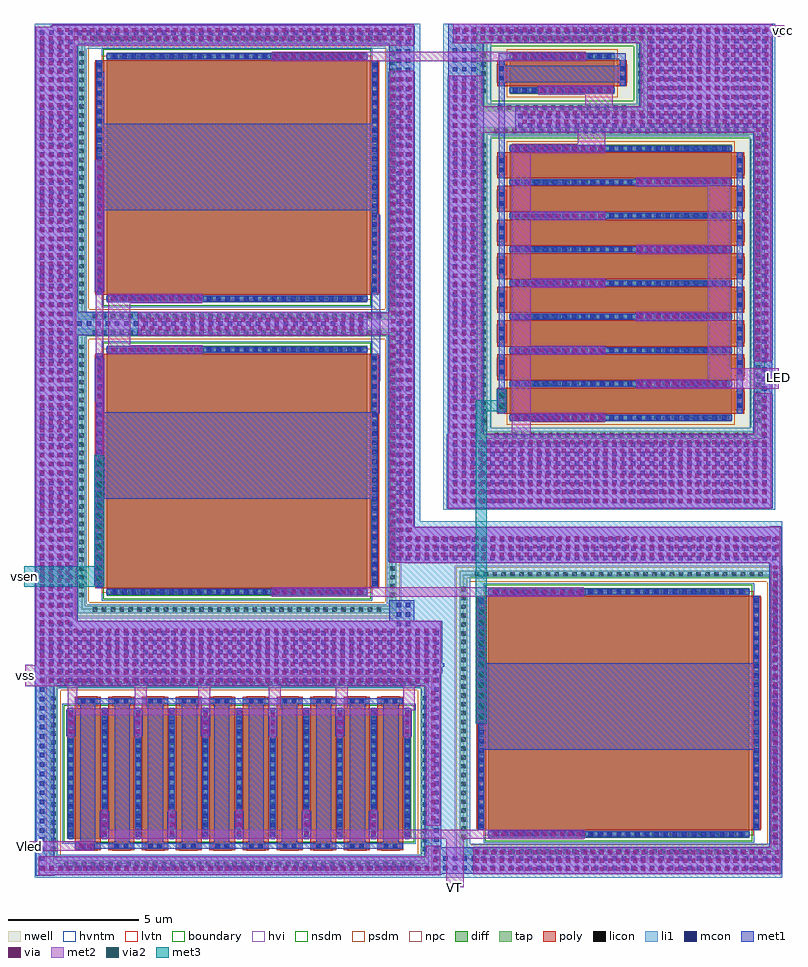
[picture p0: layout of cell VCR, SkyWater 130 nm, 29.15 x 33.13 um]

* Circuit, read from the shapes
.subckt VCR LED VT Vled vcc vsen vss
XM1 VT Vled vss vss sky130_fd_pr__nfet_05v0_nvt w=5 l=1 m=10
XM2 n1 vsen n2 vss sky130_fd_pr__nfet_05v0_nvt w=10 l=9
XM3 n3 vsen n1 vss sky130_fd_pr__nfet_05v0_nvt w=10 l=9
XM4 n2 n3 VT vss sky130_fd_pr__nfet_05v0_nvt w=10 l=9
XM5 LED n3 vcc vcc sky130_fd_pr__pfet_g5v0d10v5 w=8.5 l=1 m=8
XM6 n3 n3 vcc vcc sky130_fd_pr__pfet_g5v0d10v5 w=4 l=1
.ends

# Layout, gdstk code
from math import pi, radians
import gdstk
lib = gdstk.Library(unit=1e-6, precision=1e-09)
def R(c, l, rs):  # rectangles x0, y0, x1, y1
    for r in rs: c.add(gdstk.rectangle(r[:2], r[2:], *l))
def A(c, l, x, y, w, h, nx, ny, dx, dy):  # array of equal rectangles
    R(c, l, [(x+i*dx, y+j*dy, x+i*dx+w, y+j*dy+h) for i in range(nx) for j in range(ny)])
nwell = (64, 20)
diff = (65, 20)
tap = (65, 44)
poly = (66, 20)
licon = (66, 44)
li1 = (67, 20)
mcon = (67, 44)
met1 = (68, 20)
via = (68, 44)
met2 = (69, 20)
via2 = (69, 44)
met3 = (70, 20)
hvi = (75, 20)
nsdm = (93, 44)
psdm = (94, 20)
npc = (95, 20)
hvntm = (125, 20)
lvtn = (125, 44)
boundary = (235, 4)

sky130_fd_pr__nfet_05v0_ = lib.new_cell('sky130_fd_pr__nfet_05v0_nvt_6VRW6H')
R(sky130_fd_pr__nfet_05v0_, diff, [(-4.79,-5,4.79,5)])
R(sky130_fd_pr__nfet_05v0_, tap, [(-5.46,-6.11,5.46,-5.82), (-5.46,-5.82,-5.17,5.82), (5.17,-5.82,5.46,5.82), (-5.46,5.82,5.46,6.11)])
R(sky130_fd_pr__nfet_05v0_, poly, [(-4.5,-5.44,4.5,5.44)])
A(sky130_fd_pr__nfet_05v0_, licon, -4.845, -6.05, 0.17, 0.17, 29, 2, 0.34, 11.93)
A(sky130_fd_pr__nfet_05v0_, licon, -5.4, -5.525, 0.17, 0.17, 1, 33, 0, 0.34)
A(sky130_fd_pr__nfet_05v0_, licon, 5.23, -5.525, 0.17, 0.17, 1, 33, 0, 0.34)
A(sky130_fd_pr__nfet_05v0_, licon, -4.335, -5.36, 0.17, 0.17, 26, 2, 0.34, 10.55)
A(sky130_fd_pr__nfet_05v0_, licon, -4.73, -4.845, 0.17, 0.17, 1, 29, 0, 0.34)
A(sky130_fd_pr__nfet_05v0_, licon, 4.56, -4.845, 0.17, 0.17, 1, 29, 0, 0.34)
R(sky130_fd_pr__nfet_05v0_, li1, [(-5.4,-6.05,5.4,-5.88), (-5.4,-5.88,-5.23,5.88), (5.23,-5.88,5.4,5.88), (-4.5,-5.36,4.5,-5.19), (-4.73,-5.02,-4.56,5.02), (4.56,-5.02,4.73,5.02), (-4.5,5.19,4.5,5.36), (-5.4,5.88,5.4,6.05)])
A(sky130_fd_pr__nfet_05v0_, mcon, -4.405, -5.36, 0.17, 0.17, 25, 2, 0.36, 10.55)
A(sky130_fd_pr__nfet_05v0_, mcon, -4.73, -4.765, 0.17, 0.17, 1, 27, 0, 0.36)
A(sky130_fd_pr__nfet_05v0_, mcon, 4.56, -4.765, 0.17, 0.17, 1, 27, 0, 0.36)
R(sky130_fd_pr__nfet_05v0_, met1, [(-4.48,-5.39,4.48,-5.16), (-4.76,-5,-4.53,5), (4.53,-5,4.76,5), (-4.48,5.16,4.48,5.39)])
R(sky130_fd_pr__nfet_05v0_, hvi, [(-5.645,-6.295,5.645,6.295)])
R(sky130_fd_pr__nfet_05v0_, nsdm, [(-4.915,-5.125,4.915,5.125)])
R(sky130_fd_pr__nfet_05v0_, psdm, [(-5.585,-6.235,5.585,-5.695), (-5.585,-5.695,-5.045,5.695), (5.045,-5.695,5.585,5.695), (-5.585,5.695,5.585,6.235)])
R(sky130_fd_pr__nfet_05v0_, npc, [(-4.435,-5.46,4.435,-5.09), (-4.435,5.09,4.435,5.46)])
R(sky130_fd_pr__nfet_05v0_, hvntm, [(-4.975,-5.185,4.975,5.185)])
R(sky130_fd_pr__nfet_05v0_, lvtn, [(-4.68,-5.18,4.68,5.18)])
R(sky130_fd_pr__nfet_05v0_, boundary, [(-5.31,-5.96,5.31,5.96)])

sky130_fd_pr__pfet_g5v0d = lib.new_cell('sky130_fd_pr__pfet_g5v0d10v5_5QATSV')
R(sky130_fd_pr__pfet_g5v0d, nwell, [(-1.79,-3.485,1.79,3.485)])
R(sky130_fd_pr__pfet_g5v0d, diff, [(-0.79,-2,0.79,2)])
R(sky130_fd_pr__pfet_g5v0d, tap, [(-1.46,-3.155,1.46,-2.865), (-1.46,-2.865,-1.17,2.865), (1.17,-2.865,1.46,2.865), (-1.46,2.865,1.46,3.155)])
R(sky130_fd_pr__pfet_g5v0d, poly, [(-0.5,-2.485,0.5,2.485)])
A(sky130_fd_pr__pfet_g5v0d, licon, -0.765, -3.095, 0.17, 0.17, 5, 2, 0.34, 6.02)
A(sky130_fd_pr__pfet_g5v0d, licon, -1.4, -2.465, 0.17, 0.17, 1, 15, 0, 0.34)
A(sky130_fd_pr__pfet_g5v0d, licon, 1.23, -2.465, 0.17, 0.17, 1, 15, 0, 0.34)
A(sky130_fd_pr__pfet_g5v0d, licon, -0.73, -1.785, 0.17, 0.17, 1, 11, 0, 0.34)
A(sky130_fd_pr__pfet_g5v0d, licon, 0.56, -1.785, 0.17, 0.17, 1, 11, 0, 0.34)
R(sky130_fd_pr__pfet_g5v0d, licon, [(-0.255,-2.405,-0.085,-2.235), (0.085,-2.405,0.255,-2.235), (-0.255,2.235,-0.085,2.405), (0.085,2.235,0.255,2.405)])
R(sky130_fd_pr__pfet_g5v0d, li1, [(-1.4,-3.095,1.4,-2.925), (-1.4,-2.925,-1.23,2.925), (1.23,-2.925,1.4,2.925), (-0.5,-2.405,0.5,-2.235), (-0.73,-2.02,-0.56,2.02), (0.56,-2.02,0.73,2.02), (-0.5,2.235,0.5,2.405), (-1.4,2.925,1.4,3.095)])
A(sky130_fd_pr__pfet_g5v0d, mcon, -0.73, -1.885, 0.17, 0.17, 1, 11, 0, 0.36)
A(sky130_fd_pr__pfet_g5v0d, mcon, 0.56, -1.885, 0.17, 0.17, 1, 11, 0, 0.36)
R(sky130_fd_pr__pfet_g5v0d, mcon, [(-0.265,-2.405,-0.095,-2.235), (0.095,-2.405,0.265,-2.235), (-0.265,2.235,-0.095,2.405), (0.095,2.235,0.265,2.405)])
R(sky130_fd_pr__pfet_g5v0d, met1, [(-0.48,-2.435,0.48,-2.205), (-0.76,-2,-0.53,2), (0.53,-2,0.76,2), (-0.48,2.205,0.48,2.435)])
R(sky130_fd_pr__pfet_g5v0d, hvi, [(-1.79,-3.485,1.79,3.485)])
R(sky130_fd_pr__pfet_g5v0d, nsdm, [(-1.585,-3.28,1.585,-2.74), (-1.585,-2.74,-1.045,2.74), (1.045,-2.74,1.585,2.74), (-1.585,2.74,1.585,3.28)])
R(sky130_fd_pr__pfet_g5v0d, psdm, [(-0.915,-2.125,0.915,2.125)])
R(sky130_fd_pr__pfet_g5v0d, npc, [(-0.355,-2.505,0.355,-2.135), (-0.355,2.135,0.355,2.505)])
R(sky130_fd_pr__pfet_g5v0d, boundary, [(-1.315,-3.01,1.315,3.01)])

c_sky130_fd_pr__pfet_g5v0d = lib.new_cell('sky130_fd_pr__pfet_g5v0d10v5_WWY474')
R(c_sky130_fd_pr__pfet_g5v0d, nwell, [(-6.305,-5.735,6.305,5.735)])
R(c_sky130_fd_pr__pfet_g5v0d, diff, [(-5.305,-4.25,5.305,4.25)])
R(c_sky130_fd_pr__pfet_g5v0d, tap, [(-5.975,-5.405,5.975,-5.115), (-5.975,-5.115,-5.685,5.115), (5.685,-5.115,5.975,5.115), (-5.975,5.115,5.975,5.405)])
A(c_sky130_fd_pr__pfet_g5v0d, poly, -5.015, -4.735, 1, 9.47, 8, 1, 1.29, 0)
A(c_sky130_fd_pr__pfet_g5v0d, licon, -5.355, -5.345, 0.17, 0.17, 32, 2, 0.34, 10.52)
A(c_sky130_fd_pr__pfet_g5v0d, licon, -5.915, -4.845, 0.17, 0.17, 1, 29, 0, 0.34)
A(c_sky130_fd_pr__pfet_g5v0d, licon, 5.745, -4.845, 0.17, 0.17, 1, 29, 0, 0.34)
A(c_sky130_fd_pr__pfet_g5v0d, licon, -5.245, -4.165, 0.17, 0.17, 9, 25, 1.29, 0.34)
R(c_sky130_fd_pr__pfet_g5v0d, licon, [(-4.77,-4.655,-4.6,-4.485), (-4.43,-4.655,-4.26,-4.485), (-3.48,-4.655,-3.31,-4.485), (-3.14,-4.655,-2.97,-4.485), (-2.19,-4.655,-2.02,-4.485), (-1.85,-4.655,-1.68,-4.485), (-0.9,-4.655,-0.73,-4.485), (-0.56,-4.655,-0.39,-4.485), (0.39,-4.655,0.56,-4.485), (0.73,-4.655,0.9,-4.485), (1.68,-4.655,1.85,-4.485), (2.02,-4.655,2.19,-4.485), (2.97,-4.655,3.14,-4.485), (3.31,-4.655,3.48,-4.485), (4.26,-4.655,4.43,-4.485), (4.6,-4.655,4.77,-4.485), (-4.77,4.485,-4.6,4.655), (-4.43,4.485,-4.26,4.655), (-3.48,4.485,-3.31,4.655), (-3.14,4.485,-2.97,4.655), (-2.19,4.485,-2.02,4.655), (-1.85,4.485,-1.68,4.655), (-0.9,4.485,-0.73,4.655), (-0.56,4.485,-0.39,4.655), (0.39,4.485,0.56,4.655), (0.73,4.485,0.9,4.655), (1.68,4.485,1.85,4.655), (2.02,4.485,2.19,4.655), (2.97,4.485,3.14,4.655), (3.31,4.485,3.48,4.655), (4.26,4.485,4.43,4.655), (4.6,4.485,4.77,4.655)])
A(c_sky130_fd_pr__pfet_g5v0d, li1, -5.015, -4.655, 1, 0.17, 8, 2, 1.29, 9.14)
A(c_sky130_fd_pr__pfet_g5v0d, li1, -5.245, -4.27, 0.17, 8.54, 9, 1, 1.29, 0)
R(c_sky130_fd_pr__pfet_g5v0d, li1, [(-5.915,-5.345,5.915,-5.175), (-5.915,-5.175,-5.745,5.175), (5.745,-5.175,5.915,5.175), (-5.915,5.175,5.915,5.345)])
A(c_sky130_fd_pr__pfet_g5v0d, mcon, -5.245, -4.045, 0.17, 0.17, 9, 23, 1.29, 0.36)
R(c_sky130_fd_pr__pfet_g5v0d, mcon, [(-4.78,-4.655,-4.61,-4.485), (-4.42,-4.655,-4.25,-4.485), (-3.49,-4.655,-3.32,-4.485), (-3.13,-4.655,-2.96,-4.485), (-2.2,-4.655,-2.03,-4.485), (-1.84,-4.655,-1.67,-4.485), (-0.91,-4.655,-0.74,-4.485), (-0.55,-4.655,-0.38,-4.485), (0.38,-4.655,0.55,-4.485), (0.74,-4.655,0.91,-4.485), (1.67,-4.655,1.84,-4.485), (2.03,-4.655,2.2,-4.485), (2.96,-4.655,3.13,-4.485), (3.32,-4.655,3.49,-4.485), (4.25,-4.655,4.42,-4.485), (4.61,-4.655,4.78,-4.485), (-4.78,4.485,-4.61,4.655), (-4.42,4.485,-4.25,4.655), (-3.49,4.485,-3.32,4.655), (-3.13,4.485,-2.96,4.655), (-2.2,4.485,-2.03,4.655), (-1.84,4.485,-1.67,4.655), (-0.91,4.485,-0.74,4.655), (-0.55,4.485,-0.38,4.655), (0.38,4.485,0.55,4.655), (0.74,4.485,0.91,4.655), (1.67,4.485,1.84,4.655), (2.03,4.485,2.2,4.655), (2.96,4.485,3.13,4.655), (3.32,4.485,3.49,4.655), (4.25,4.485,4.42,4.655), (4.61,4.485,4.78,4.655)])
A(c_sky130_fd_pr__pfet_g5v0d, met1, -4.995, -4.685, 0.96, 0.23, 8, 2, 1.29, 9.14)
A(c_sky130_fd_pr__pfet_g5v0d, met1, -5.275, -4.25, 0.23, 8.5, 9, 1, 1.29, 0)
R(c_sky130_fd_pr__pfet_g5v0d, hvi, [(-6.305,-5.735,6.305,5.735)])
R(c_sky130_fd_pr__pfet_g5v0d, nsdm, [(-6.1,-5.53,6.1,-4.99), (-6.1,-4.99,-5.56,4.99), (5.56,-4.99,6.1,4.99), (-6.1,4.99,6.1,5.53)])
R(c_sky130_fd_pr__pfet_g5v0d, psdm, [(-5.43,-4.375,5.43,4.375)])
A(c_sky130_fd_pr__pfet_g5v0d, npc, -4.87, -4.755, 0.71, 0.37, 8, 2, 1.29, 9.14)
R(c_sky130_fd_pr__pfet_g5v0d, boundary, [(-5.83,-5.26,5.83,5.26)])

sky130_fd_pr__nfet_g5v0d = lib.new_cell('sky130_fd_pr__nfet_g5v0d10v5_YQT2ZE')
R(sky130_fd_pr__nfet_g5v0d, diff, [(-6.595,-2.5,6.595,2.5)])
R(sky130_fd_pr__nfet_g5v0d, tap, [(-7.265,-3.61,7.265,-3.32), (-7.265,-3.32,-6.975,3.32), (6.975,-3.32,7.265,3.32), (-7.265,3.32,7.265,3.61)])
A(sky130_fd_pr__nfet_g5v0d, poly, -6.305, -2.94, 1, 5.88, 10, 1, 1.29, 0)
A(sky130_fd_pr__nfet_g5v0d, licon, -6.715, -3.55, 0.17, 0.17, 40, 2, 0.34, 6.93)
A(sky130_fd_pr__nfet_g5v0d, licon, -7.205, -2.975, 0.17, 0.17, 1, 18, 0, 0.34)
A(sky130_fd_pr__nfet_g5v0d, licon, 7.035, -2.975, 0.17, 0.17, 1, 18, 0, 0.34)
A(sky130_fd_pr__nfet_g5v0d, licon, -6.535, -2.295, 0.17, 0.17, 11, 14, 1.29, 0.34)
R(sky130_fd_pr__nfet_g5v0d, licon, [(-6.06,-2.86,-5.89,-2.69), (-5.72,-2.86,-5.55,-2.69), (-4.77,-2.86,-4.6,-2.69), (-4.43,-2.86,-4.26,-2.69), (-3.48,-2.86,-3.31,-2.69), (-3.14,-2.86,-2.97,-2.69), (-2.19,-2.86,-2.02,-2.69), (-1.85,-2.86,-1.68,-2.69), (-0.9,-2.86,-0.73,-2.69), (-0.56,-2.86,-0.39,-2.69), (0.39,-2.86,0.56,-2.69), (0.73,-2.86,0.9,-2.69), (1.68,-2.86,1.85,-2.69), (2.02,-2.86,2.19,-2.69), (2.97,-2.86,3.14,-2.69), (3.31,-2.86,3.48,-2.69), (4.26,-2.86,4.43,-2.69), (4.6,-2.86,4.77,-2.69), (5.55,-2.86,5.72,-2.69), (5.89,-2.86,6.06,-2.69), (-6.06,2.69,-5.89,2.86), (-5.72,2.69,-5.55,2.86), (-4.77,2.69,-4.6,2.86), (-4.43,2.69,-4.26,2.86), (-3.48,2.69,-3.31,2.86), (-3.14,2.69,-2.97,2.86), (-2.19,2.69,-2.02,2.86), (-1.85,2.69,-1.68,2.86), (-0.9,2.69,-0.73,2.86), (-0.56,2.69,-0.39,2.86), (0.39,2.69,0.56,2.86), (0.73,2.69,0.9,2.86), (1.68,2.69,1.85,2.86), (2.02,2.69,2.19,2.86), (2.97,2.69,3.14,2.86), (3.31,2.69,3.48,2.86), (4.26,2.69,4.43,2.86), (4.6,2.69,4.77,2.86), (5.55,2.69,5.72,2.86), (5.89,2.69,6.06,2.86)])
A(sky130_fd_pr__nfet_g5v0d, li1, -6.305, -2.86, 1, 0.17, 10, 2, 1.29, 5.55)
A(sky130_fd_pr__nfet_g5v0d, li1, -6.535, -2.52, 0.17, 5.04, 11, 1, 1.29, 0)
R(sky130_fd_pr__nfet_g5v0d, li1, [(-7.205,-3.55,7.205,-3.38), (-7.205,-3.38,-7.035,3.38), (7.035,-3.38,7.205,3.38), (-7.205,3.38,7.205,3.55)])
A(sky130_fd_pr__nfet_g5v0d, mcon, -6.535, -2.425, 0.17, 0.17, 11, 14, 1.29, 0.36)
R(sky130_fd_pr__nfet_g5v0d, mcon, [(-6.07,-2.86,-5.9,-2.69), (-5.71,-2.86,-5.54,-2.69), (-4.78,-2.86,-4.61,-2.69), (-4.42,-2.86,-4.25,-2.69), (-3.49,-2.86,-3.32,-2.69), (-3.13,-2.86,-2.96,-2.69), (-2.2,-2.86,-2.03,-2.69), (-1.84,-2.86,-1.67,-2.69), (-0.91,-2.86,-0.74,-2.69), (-0.55,-2.86,-0.38,-2.69), (0.38,-2.86,0.55,-2.69), (0.74,-2.86,0.91,-2.69), (1.67,-2.86,1.84,-2.69), (2.03,-2.86,2.2,-2.69), (2.96,-2.86,3.13,-2.69), (3.32,-2.86,3.49,-2.69), (4.25,-2.86,4.42,-2.69), (4.61,-2.86,4.78,-2.69), (5.54,-2.86,5.71,-2.69), (5.9,-2.86,6.07,-2.69), (-6.07,2.69,-5.9,2.86), (-5.71,2.69,-5.54,2.86), (-4.78,2.69,-4.61,2.86), (-4.42,2.69,-4.25,2.86), (-3.49,2.69,-3.32,2.86), (-3.13,2.69,-2.96,2.86), (-2.2,2.69,-2.03,2.86), (-1.84,2.69,-1.67,2.86), (-0.91,2.69,-0.74,2.86), (-0.55,2.69,-0.38,2.86), (0.38,2.69,0.55,2.86), (0.74,2.69,0.91,2.86), (1.67,2.69,1.84,2.86), (2.03,2.69,2.2,2.86), (2.96,2.69,3.13,2.86), (3.32,2.69,3.49,2.86), (4.25,2.69,4.42,2.86), (4.61,2.69,4.78,2.86), (5.54,2.69,5.71,2.86), (5.9,2.69,6.07,2.86)])
A(sky130_fd_pr__nfet_g5v0d, met1, -6.285, -2.89, 0.96, 0.23, 10, 2, 1.29, 5.55)
A(sky130_fd_pr__nfet_g5v0d, met1, -6.565, -2.5, 0.23, 5, 11, 1, 1.29, 0)
R(sky130_fd_pr__nfet_g5v0d, hvi, [(-7.45,-3.795,7.45,3.795)])
R(sky130_fd_pr__nfet_g5v0d, nsdm, [(-6.72,-2.625,6.72,2.625)])
R(sky130_fd_pr__nfet_g5v0d, psdm, [(-7.39,-3.735,7.39,-3.195), (-7.39,-3.195,-6.85,3.195), (6.85,-3.195,7.39,3.195), (-7.39,3.195,7.39,3.735)])
A(sky130_fd_pr__nfet_g5v0d, npc, -6.16, -2.96, 0.71, 0.37, 10, 2, 1.29, 5.55)
R(sky130_fd_pr__nfet_g5v0d, hvntm, [(-6.78,-2.685,6.78,2.685)])
R(sky130_fd_pr__nfet_g5v0d, boundary, [(-7.12,-3.465,7.12,3.465)])

vcr = lib.new_cell('VCR')
R(vcr, poly, [(10.165,-11.77,10.75,-6.43)])
R(vcr, li1, [(1.96,-13.085,30.62,-12.205), (1.96,-12.205,2.84,-5.815), (16.78,-12.205,30.62,-11.795), (16.78,-11.795,18.67,-5.815), (30.155,-11.795,30.62,-1.42), (1.96,-5.815,18.67,-2.605), (1.96,-2.605,3.955,7.71), (15.455,-2.605,18.67,-1.545), (15.455,-1.545,18.635,-1.42), (15.455,-1.42,30.62,0.58), (15.455,0.58,16.74,7.71), (17.635,1.015,30.365,4.175), (17.635,4.175,19.475,15.355), (29.375,4.175,30.365,15.355), (1.96,7.71,16.74,8.625), (1.96,8.625,3.955,18.71), (15.455,8.625,16.74,18.71), (17.635,15.355,30.365,16.605), (17.635,16.605,19.475,18.94), (25.035,16.605,30.365,18.94), (1.96,18.71,16.74,19.665), (17.635,18.94,30.365,19.665)])
A(vcr, mcon, 2.155, -12.795, 0.17, 0.17, 79, 1, 0.36, 0)
A(vcr, mcon, 2.155, -12.435, 0.17, 0.17, 1, 19, 0, 0.36)
A(vcr, mcon, 17.275, -12.435, 0.17, 0.17, 37, 1, 0.36, 0)
A(vcr, mcon, 17.275, -12.075, 0.17, 0.17, 1, 18, 0, 0.36)
A(vcr, mcon, 30.28, -11.595, 0.17, 0.17, 1, 29, 0, 0.36)
A(vcr, mcon, 2.155, -5.595, 0.17, 0.17, 43, 6, 0.36, 0.36)
A(vcr, mcon, 2.155, -3.435, 0.17, 0.17, 4, 32, 0.36, 0.36)
A(vcr, mcon, 15.835, -3.435, 0.17, 0.17, 1, 3, 0, 0.36)
A(vcr, mcon, 16.195, -3.435, 0.17, 0.17, 1, 3, 0, 0.36)
A(vcr, mcon, 15.835, -0.915, 0.17, 0.17, 41, 3, 0.36, 0.36)
A(vcr, mcon, 15.835, 0.165, 0.17, 0.17, 1, 53, 0, 0.36)
A(vcr, mcon, 16.195, 0.165, 0.17, 0.17, 1, 53, 0, 0.36)
A(vcr, mcon, 17.985, 1.275, 0.17, 0.17, 34, 7, 0.36, 0.36)
A(vcr, mcon, 17.985, 3.795, 0.17, 0.17, 3, 43, 0.36, 0.36)
A(vcr, mcon, 29.865, 3.795, 0.17, 0.17, 1, 33, 0, 0.36)
A(vcr, mcon, 2.155, 8.085, 0.17, 0.17, 35, 1, 0.36, 0)
A(vcr, mcon, 2.155, 8.445, 0.17, 0.17, 4, 30, 0.36, 0.36)
A(vcr, mcon, 20.505, 15.675, 0.17, 0.17, 27, 2, 0.36, 0.36)
A(vcr, mcon, 25.545, 16.395, 0.17, 0.17, 13, 8, 0.36, 0.36)
A(vcr, mcon, 2.155, 19.245, 0.17, 0.17, 40, 1, 0.36, 0)
A(vcr, mcon, 17.985, 19.275, 0.17, 0.17, 34, 1, 0.36, 0)
A(vcr, met1, 4.455, -11.535, 0.36, 1, 5, 1, 2.58, 0)
A(vcr, met1, 3.165, -7.655, 0.36, 1, 6, 1, 2.58, 0)
A(vcr, met1, 20.195, 4.43, 3.7, 0.26, 1, 5, 0, 2.58)
A(vcr, met1, 24.975, 8.3, 3.7, 0.26, 1, 3, 0, 2.58)
R(vcr, met1, [(1.995,-13.01,2.7,-12.98), (1.995,-12.98,17.565,-12.945), (1.995,-12.945,30.585,-12.915), (1.995,-12.915,30.605,-12.28), (1.995,-12.28,2.7,-5.73), (16.915,-12.28,30.605,-11.93), (3.52,-12,4.28,-11.985), (3.52,-11.985,4.905,-11.755), (5.69,-11.985,6.195,-11.755), (7.005,-11.985,7.51,-11.755), (8.28,-11.985,8.785,-11.755), (9.575,-11.985,10.08,-11.755), (10.855,-11.985,11.36,-11.755), (12.165,-11.985,12.67,-11.755), (13.445,-11.985,13.95,-11.755), (14.765,-11.985,15.27,-11.755), (16.915,-11.93,17.555,-5.73), (30.13,-11.93,30.605,-1.01), (5.02,-11.77,5.605,-6.43), (7.6,-11.77,8.185,-6.43), (10.165,-11.77,10.75,-6.43), (12.745,-11.77,13.33,-6.43), (14.045,-11.77,14.63,-6.43), (15.33,-11.77,15.915,-6.43), (8.84,-11.765,9.425,-6.425), (11.435,-11.765,12.02,-6.425), (6.3,-11.76,6.885,-6.42), (3.52,-11.755,4.28,-11.74), (3.695,-11.74,4.28,-6.425), (19.37,-11.555,23.07,-11.295), (29.52,-10.79,29.635,-8.61), (19.03,-10.785,19.2,-8.185), (29.52,-8.61,29.64,-8.185), (19.03,-8.185,29.64,-7.155), (18.87,-7.155,29.64,-4.86), (4.355,-6.435,4.86,-6.205), (5.755,-6.435,6.26,-6.205), (7.02,-6.435,7.525,-6.205), (8.325,-6.435,8.83,-6.205), (9.54,-6.435,10.045,-6.205), (10.875,-6.435,11.38,-6.205), (12.17,-6.435,12.675,-6.205), (13.475,-6.435,13.98,-6.205), (14.74,-6.435,15.245,-6.205), (3.785,-6.425,4.175,-6.4), (1.965,-5.73,17.555,-5.255), (1.965,-5.255,17.595,-5.065), (1.955,-5.065,17.595,-5), (1.955,-5,17.655,-4.86), (1.955,-4.86,17.595,-3.245), (18.87,-4.86,19.2,-2.655), (29.52,-4.86,29.64,-2.89), (1.955,-3.245,3.6,7.715), (15.555,-3.245,16.51,-2.45), (18.97,-2.37,19.2,-2.315), (11.005,-2.26,14.705,-2), (19.37,-2.26,23.07,-2), (14.945,-1.935,15.11,-1.71), (4.245,-1.905,4.625,1.44), (15.1,-1.71,15.11,-1.58), (14.86,-1.515,14.93,1.44), (16.07,-1.01,30.615,-0.995), (15.555,-0.995,30.615,-0.965), (15.525,-0.965,30.615,0.355), (15.525,0.355,16.54,17.815), (30.15,0.355,30.585,0.385), (17.76,1.085,30.265,1.445), (4.245,1.44,14.93,3.095), (17.76,1.445,30.26,3.925), (4.39,3.095,14.93,4.725), (17.8,3.925,19.17,17.63), (29.525,3.925,30.26,5.44), (4.39,4.725,15.195,4.765), (28.89,4.725,29.12,14.735), (4.39,4.765,4.625,5.195), (14.86,4.765,15.195,5.95), (19.675,4.785,20.055,5.625), (4.25,5.195,4.625,6.495), (29.54,5.44,30.235,6.775), (19.75,5.625,19.98,13.76), (24.98,5.72,28.68,5.98), (14.86,5.95,15.2,7.955), (4.25,6.495,4.63,6.81), (29.52,6.775,30.255,15.51), (4.325,6.97,4.555,7.02), (4.725,7.03,8.425,7.29), (4.325,7.705,4.555,7.715), (1.955,7.715,14.705,8.62), (14.865,7.955,15.2,9.715), (1.955,8.62,3.6,18.88), (4.725,8.99,8.425,9.25), (4.325,9.345,4.555,9.38), (4.25,9.405,4.63,12.505), (14.875,9.715,15.2,12.33), (14.875,12.33,14.96,12.505), (4.25,12.505,14.96,14.405), (4.41,14.405,14.96,15.83), (19.75,14.71,19.98,17.42), (20.385,15.51,30.255,16.485), (4.41,15.83,4.63,17.815), (14.875,15.83,14.96,17.815), (25.15,16.485,30.255,18.94), (21.225,16.99,24.175,17.25), (19.75,17.42,24.415,17.58), (19.95,17.58,24.415,18.045), (17.82,17.63,19.15,17.885), (15.555,17.815,16.51,18.88), (17.815,17.885,19.155,18.94), (19.75,18.235,19.98,18.28), (24.39,18.24,24.62,18.295), (11.005,18.28,14.705,18.54), (19.75,18.28,23.145,18.54), (24.175,18.295,24.62,18.525), (1.955,18.88,16.54,19.495), (17.815,18.94,30.255,19.26), (17.815,19.26,30.265,19.64), (1.975,19.495,16.54,19.555), (2.58,19.555,16.54,19.59), (2.595,19.59,16.215,19.605), (17.815,19.64,19.155,19.67)])
A(vcr, via, 18.83, -12.83, 0.15, 0.15, 37, 3, 0.32, 0.32)
A(vcr, via, 2.21, -12.815, 0.15, 0.15, 48, 1, 0.32, 0)
A(vcr, via, 30.29, -11.825, 0.15, 0.15, 1, 34, 0, 0.32)
A(vcr, via, 19.545, -11.5, 0.15, 0.15, 11, 2, 0.32, 9.295)
A(vcr, via, 4.56, -11.43, 0.15, 0.15, 5, 3, 2.58, 0.32)
A(vcr, via, 17.16, -10.885, 0.15, 0.15, 1, 16, 0, 0.32)
A(vcr, via, 3.27, -7.55, 0.15, 0.15, 6, 3, 2.58, 0.32)
A(vcr, via, 18.985, -7.06, 0.15, 0.15, 1, 14, 0, 0.32)
A(vcr, via, 2.175, -5.61, 0.15, 0.15, 48, 7, 0.32, 0.32)
A(vcr, via, 2.175, -3.37, 0.15, 0.15, 4, 70, 0.32, 0.32)
A(vcr, via, 11.18, -2.205, 0.15, 0.15, 11, 2, 0.32, 20.54)
A(vcr, via, 4.36, -1.72, 0.15, 0.15, 1, 15, 0, 0.32)
A(vcr, via, 15.63, -0.78, 0.15, 0.15, 47, 3, 0.32, 0.32)
A(vcr, via, 15.63, 0.18, 0.15, 0.15, 3, 55, 0.32, 0.32)
A(vcr, via, 18.02, 1.295, 0.15, 0.15, 38, 8, 0.32, 0.32)
A(vcr, via, 18.02, 3.855, 0.15, 0.15, 3, 43, 0.32, 0.32)
A(vcr, via, 29.86, 3.855, 0.15, 0.15, 1, 5, 0, 0.32)
A(vcr, via, 20.37, 4.485, 0.15, 0.15, 11, 5, 0.32, 2.58)
A(vcr, via, 4.365, 5.285, 0.15, 0.15, 1, 5, 0, 0.32)
A(vcr, via, 25.155, 5.775, 0.15, 0.15, 11, 1, 0.32, 0)
A(vcr, via, 29.63, 6.875, 0.15, 0.15, 1, 28, 0, 0.32)
A(vcr, via, 29.95, 6.875, 0.15, 0.15, 1, 28, 0, 0.32)
A(vcr, via, 4.9, 7.085, 0.15, 0.15, 11, 2, 0.32, 1.96)
A(vcr, via, 6.045, 7.915, 0.15, 0.15, 27, 2, 0.32, 0.32)
A(vcr, via, 25.15, 8.355, 0.15, 0.15, 11, 3, 0.32, 2.58)
A(vcr, via, 4.365, 9.59, 0.15, 0.15, 1, 15, 0, 0.32)
A(vcr, via, 20.67, 15.835, 0.15, 0.15, 30, 2, 0.32, 0.32)
A(vcr, via, 25.47, 16.475, 0.15, 0.15, 15, 8, 0.32, 0.32)
A(vcr, via, 21.345, 17.045, 0.15, 0.15, 9, 1, 0.32, 0)
A(vcr, via, 20.315, 18.335, 0.15, 0.15, 9, 1, 0.32, 0)
A(vcr, via, 2.175, 19.03, 0.15, 0.15, 45, 1, 0.32, 0)
A(vcr, via, 18.11, 19.035, 0.15, 0.15, 38, 2, 0.32, 0.32)
A(vcr, via, 2.815, 19.35, 0.15, 0.15, 43, 1, 0.32, 0)
R(vcr, via, [(17.25,-12.495,17.4,-12.345), (17.25,-12.175,17.4,-12.025), (3.66,-11.945,3.81,-11.795), (3.98,-11.945,4.13,-11.795), (19.79,4.97,19.94,5.12), (19.79,5.29,19.94,5.44)])
A(vcr, met2, 4.505, -11.24, 0.26, 0.755, 5, 1, 2.58, 0)
A(vcr, met2, 3.215, -7.705, 0.26, 0.84, 6, 1, 2.58, 0)
A(vcr, met2, 20.245, 4.38, 3.6, 0.36, 1, 5, 0, 2.58)
A(vcr, met2, 20.245, 4.74, 0.735, 2.22, 1, 4, 0, 2.58)
R(vcr, met2, [(17.745,-13.46,18.405,-11.6), (2.105,-13,17.505,-12.26), (18.775,-12.965,30.555,-11.91), (16.965,-12.26,17.505,-11.86), (1.765,-12.05,4.225,-11.69), (28.425,-11.91,30.555,-11.905), (30.18,-11.905,30.555,-1.03), (19.42,-11.605,23.02,-11.6), (4.505,-11.6,23.045,-11.24), (16.965,-11.095,17.505,-5.75), (18.92,-7.205,19.24,-2.605), (3.215,-6.865,16.375,-6.66), (3.215,-6.66,16.54,-6.605), (3.215,-6.605,3.595,-5.75), (5.8,-6.605,6.26,-5.75), (8.22,-6.605,8.68,-5.75), (10.93,-6.605,11.385,-5.75), (13.5,-6.605,13.955,-5.75), (16.085,-6.605,16.54,-5.75), (1.595,-5.75,17.505,-5.275), (1.595,-5.275,17.535,-4.935), (1.595,-4.935,1.865,-4.93), (2.005,-4.935,17.535,-3.225), (2.005,-3.225,3.55,18.83), (11.055,-2.31,23.02,-1.95), (4.295,-1.955,4.575,3.08), (16.13,-1.03,30.555,-1.015), (15.575,-1.015,30.555,0.375), (15.575,0.375,16.49,7.745), (17.82,1.065,30.205,1.18), (17.82,1.18,30.21,3.945), (4.295,3.08,4.58,3.145), (4.3,3.145,4.58,14.455), (17.85,3.945,19.12,15.49), (20.245,3.945,20.98,4.38), (29.575,3.945,30.21,5.49), (19.725,4.735,20.005,5.675), (25.03,5.67,30.5,6.03), (27.77,6.03,30.5,6.445), (27.77,6.445,28.63,8.25), (29.57,6.725,30.205,15.49), (4.775,6.98,8.375,7.34), (4.775,7.34,5.615,8.94), (5.925,7.695,14.635,7.745), (5.925,7.745,16.49,8.58), (25.025,8.25,28.63,8.61), (5.925,8.58,14.635,8.61), (15.575,8.58,16.49,17.865), (27.77,8.61,28.63,10.83), (4.775,8.94,8.375,9.3), (25.025,10.83,28.63,11.19), (27.77,11.19,28.63,13.41), (25.025,13.41,28.63,13.63), (25.025,13.63,28.625,13.77), (22.79,15.06,23.845,15.49), (17.85,15.49,30.205,16.505), (17.85,16.505,19.12,17.68), (23.08,16.505,24.125,16.94), (25.21,16.505,30.205,18.92), (21.275,16.94,24.125,17.3), (11.055,18.23,23.095,18.59), (2.005,18.83,16.49,19.545), (18.005,18.92,30.205,19.16), (18.005,19.16,30.695,19.615), (2.63,19.545,16.49,19.64), (18.005,19.615,30.205,19.66)])
A(vcr, via2, 18.98, -7.005, 0.2, 0.2, 1, 11, 0, 0.4)
A(vcr, via2, 4.335, -1.705, 0.2, 0.2, 1, 12, 0, 0.4)
R(vcr, via2, [(19.765,4.905,19.965,5.105), (19.765,5.305,19.965,5.505)])
R(vcr, met3, [(18.87,-7.18,19.29,4.8), (1.545,-1.93,4.625,-1.145), (4.245,-1.145,4.625,3.12), (19.675,4.76,20.055,4.8), (18.87,4.8,20.055,5.22), (19.675,5.22,20.055,5.65)])
R(vcr, nsdm, [(18.905,15.82,25.465,16.18)])
R(vcr, psdm, [(3.48,8.1,15.95,8.18)])
vcr.add(gdstk.Reference(sky130_fd_pr__nfet_05v0_, (9.715,13.765), rotation=3*pi/2))
vcr.add(gdstk.Reference(sky130_fd_pr__pfet_g5v0d, (22.185,17.765), rotation=3*pi/2))
vcr.add(gdstk.Reference(c_sky130_fd_pr__pfet_g5v0d, (24.435,9.72), rotation=3*pi/2))
vcr.add(gdstk.Reference(sky130_fd_pr__nfet_05v0_, (9.715,2.515), rotation=3*pi/2))
vcr.add(gdstk.Reference(sky130_fd_pr__nfet_g5v0d, (9.795,-9.095)))
vcr.add(gdstk.Reference(sky130_fd_pr__nfet_05v0_, (24.36,-6.775), rotation=3*pi/2))
vcr.add(gdstk.Label('LED', (30.495,6.095), layer=69, texttype=5))
vcr.add(gdstk.Label('vcc', (30.69,19.41), layer=69, texttype=5))
vcr.add(gdstk.Label('Vled', (1.77,-11.875), layer=69, texttype=5))
vcr.add(gdstk.Label('VT', (18.04,-13.455), layer=69, texttype=5))
vcr.add(gdstk.Label('vss', (1.6,-5.335), layer=69, texttype=5))
vcr.add(gdstk.Label('vsen', (1.555,-1.54), layer=70, texttype=5))

lib.write_gds('VCR.gds')
